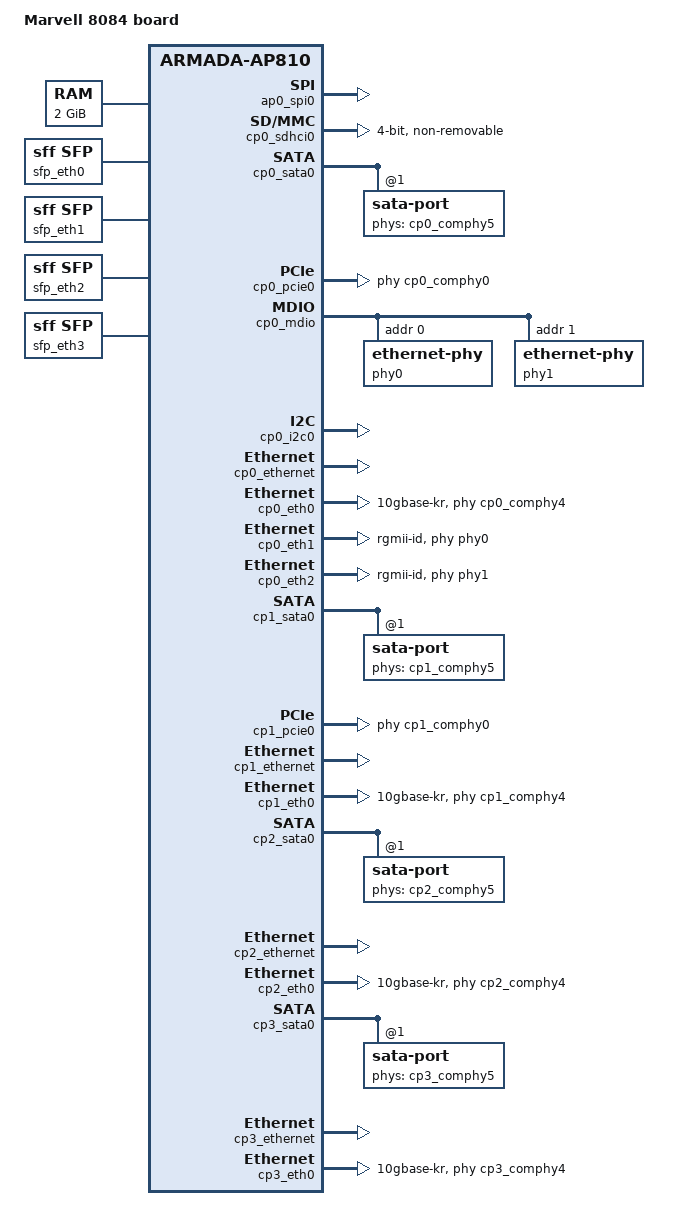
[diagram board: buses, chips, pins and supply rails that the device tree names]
/*
 * Copyright (C) 2017 Marvell Technology Group Ltd.
 *
 * This file is dual-licensed: you can use it either under the terms
 * of the GPLv2 or the X11 license, at your option. Note that this dual
 * licensing only applies to this file, and not this project as a
 * whole.
 *
 *  a) This library is free software; you can redistribute it and/or
 *     modify it under the terms of the GNU General Public License as
 *     published by the Free Software Foundation; either version 2 of the
 *     License, or (at your option) any later version.
 *
 *     This library is distributed in the hope that it will be useful,
 *     but WITHOUT ANY WARRANTY; without even the implied warranty of
 *     MERCHANTABILITY or FITNESS FOR A PARTICULAR PURPOSE.  See the
 *     GNU General Public License for more details.
 *
 * Or, alternatively,
 *
 *  b) Permission is hereby granted, free of charge, to any person
 *     obtaining a copy of this software and associated documentation
 *     files (the "Software"), to deal in the Software without
 *     restriction, including without limitation the rights to use,
 *     copy, modify, merge, publish, distribute, sublicense, and/or
 *     sell copies of the Software, and to permit persons to whom the
 *     Software is furnished to do so, subject to the following
 *     conditions:
 *
 *     The above copyright notice and this permission notice shall be
 *     included in all copies or substantial portions of the Software.
 *
 *     THE SOFTWARE IS PROVIDED "AS IS", WITHOUT WARRANTY OF ANY KIND,
 *     EXPRESS OR IMPLIED, INCLUDING BUT NOT LIMITED TO THE WARRANTIES
 *     OF MERCHANTABILITY, FITNESS FOR A PARTICULAR PURPOSE AND
 *     NONINFRINGEMENT. IN NO EVENT SHALL THE AUTHORS OR COPYRIGHT
 *     HOLDERS BE LIABLE FOR ANY CLAIM, DAMAGES OR OTHER LIABILITY,
 *     WHETHER IN AN ACTION OF CONTRACT, TORT OR OTHERWISE, ARISING
 *     FROM, OUT OF OR IN CONNECTION WITH THE SOFTWARE OR THE USE OR
 *     OTHER DEALINGS IN THE SOFTWARE.
 */

/*
 * Device Tree file for Marvell Armada-8084 Development board platform
 */

#include "armada-8084-db.dtsi"

/ {
	model = "Marvell 8084 board";
	compatible = "marvell,armada-8084-db", "marvell,armada-8084",
		     "marvell,armada-ap810-octa", "marvell,armada-ap810";

	chosen {
		stdout-path = "serial0:115200n8";
	};

	memory@00000000 {
		device_type = "memory";
		reg = <0x0 0x0 0x0 0x80000000>;
	};

	aliases {
		ethernet0 = &cp0_eth0;
		ethernet1 = &cp0_eth1;
		ethernet2 = &cp0_eth2;
		ethernet3 = &cp1_eth0;
		ethernet4 = &cp2_eth0;
		ethernet5 = &cp3_eth0;
		spi0 = &ap0_spi0;
	};

	sfp_eth0: sfp-eth0 {
		compatible = "sff,sfp";
	};

	sfp_eth1: sfp-eth1 {
		compatible = "sff,sfp";
	};

	sfp_eth2: sfp-eth2 {
		compatible = "sff,sfp";
	};

	sfp_eth3: sfp-eth3 {
		compatible = "sff,sfp";
	};
};

&ap0_spi0 {
	status = "okay";
};

&ap0_xor0 {
	status = "disabled";
};

&ap0_xor1 {
	status = "disabled";
};

&ap0_xor2 {
	status = "disabled";
};

&ap0_xor3 {
	status = "disabled";
};

&cp0_sdhci0 {
	status = "okay";
	bus-width = <4>;
	no-1-8-v;
	non-removable;
};

&cp0_sata0 {
	status = "okay";
	sata-port@1 {
		reg = <1>;
		status = "okay";
		/* Generic PHY, providing serdes lanes */
		phys = <&cp0_comphy5 1>;
	};
};

&cp0_pcie0 {
	status = "okay";
	msi-parent =<&ap0_gic_its>;

	/* Generic PHY, providing serdes lanes */
	phys = <&cp0_comphy0 0
		&cp0_comphy1 0
		&cp0_comphy2 0
		&cp0_comphy3 0>;
};

&cp0_pcie1 {
	msi-parent =<&ap0_gic_its>;
};

&cp0_pcie2 {
	msi-parent =<&ap0_gic_its>;
};

&cp0_mdio {
	status = "okay";

	phy0: ethernet-phy@0 {
		reg = <0>;
	};

	phy1: ethernet-phy@1 {
		reg = <1>;
	};
};

&cp0_i2c0 {
	status = "okay";
};

&cp0_ethernet {
	status = "okay";
};

&cp0_eth0 {
	status = "okay";
	phy-mode = "10gbase-kr";
	/* Generic PHY, providing serdes lanes */
	phys = <&cp0_comphy4 0>;
	managed = "in-band-status";
	sfp = <&sfp_eth0>;
};

&cp0_eth1 {
	status = "okay";
	phy = <&phy0>;
	phy-mode = "rgmii-id";
};

&cp0_eth2 {
	status = "okay";
	phy = <&phy1>;
	phy-mode = "rgmii-id";
};

&cp1_sata0 {
	status = "okay";
	sata-port@1 {
		reg = <1>;
		status = "okay";
		/* Generic PHY, providing serdes lanes */
		phys = <&cp1_comphy5 1>;
	};
};

&cp1_pcie0 {
	status = "okay";
	msi-parent =<&ap0_gic_its>;

	/* Generic PHY, providing serdes lanes */
	phys = <&cp1_comphy0 0
		&cp1_comphy1 0
		&cp1_comphy2 0
		&cp1_comphy3 0>;
};

&cp1_pcie1 {
	msi-parent =<&ap0_gic_its>;
};

&cp1_pcie2 {
	msi-parent =<&ap0_gic_its>;
};

&cp1_ethernet {
	status = "okay";
};

&cp1_eth0 {
	status = "okay";
	phy-mode = "10gbase-kr";
	/* Generic PHY, providing serdes lanes */
	phys = <&cp1_comphy4 0>;
	managed = "in-band-status";
	sfp = <&sfp_eth1>;
};

&cp2_sata0 {
	status = "okay";
	sata-port@1 {
		reg = <1>;
		status = "okay";
		/* Generic PHY, providing serdes lanes */
		phys = <&cp2_comphy5 1>;
	};
};

&cp2_pcie0 {
	msi-parent =<&ap0_gic_its>;
};

&cp2_pcie1 {
	msi-parent =<&ap0_gic_its>;
};

&cp2_pcie2 {
	msi-parent =<&ap0_gic_its>;
};

&cp2_ethernet {
	status = "okay";
};

&cp2_eth0 {
	status = "okay";
	phy-mode = "10gbase-kr";
	/* Generic PHY, providing serdes lanes */
	phys = <&cp2_comphy4 0>;
	managed = "in-band-status";
	sfp = <&sfp_eth2>;
};

&cp3_sata0 {
	status = "okay";
	sata-port@1 {
		reg = <1>;
		status = "okay";
		/* Generic PHY, providing serdes lanes */
		phys = <&cp3_comphy5 1>;
	};
};

&cp3_pcie0 {
	msi-parent =<&ap0_gic_its>;
};

&cp3_pcie1 {
	msi-parent =<&ap0_gic_its>;
};

&cp3_pcie2 {
	msi-parent =<&ap0_gic_its>;
};

&cp3_ethernet {
	status = "okay";
};

&cp3_eth0 {
	status = "okay";
	phy-mode = "10gbase-kr";
	/* Generic PHY, providing serdes lanes */
	phys = <&cp3_comphy4 0>;
	managed = "in-band-status";
	sfp = <&sfp_eth3>;
};
